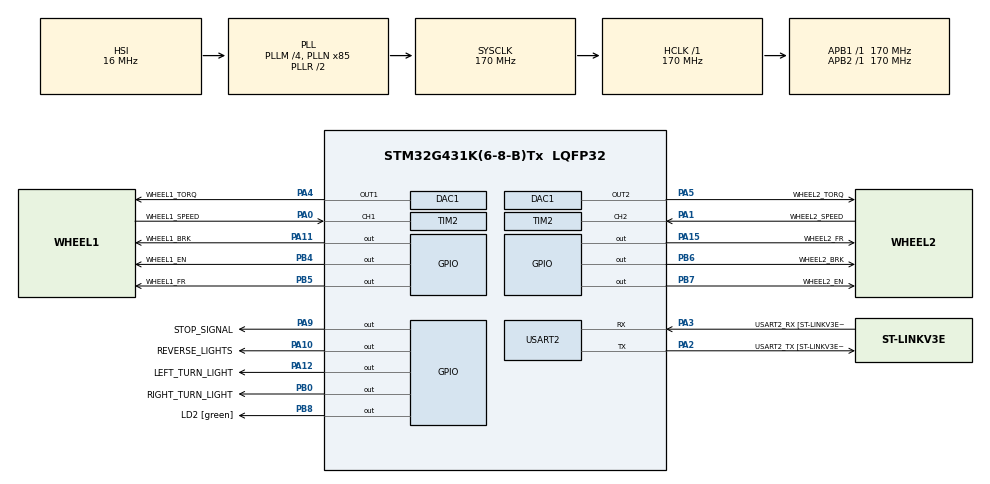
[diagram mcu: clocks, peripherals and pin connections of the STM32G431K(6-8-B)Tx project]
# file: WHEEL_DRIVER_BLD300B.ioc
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DAC1.DAC_Channel-DAC_OUT2=DAC_CHANNEL_2
DAC1.DAC_Trigger_OUT1-DAC_OUT1=DAC_TRIGGER_SOFTWARE
DAC1.DAC_Trigger_OUT2-DAC_OUT2=DAC_TRIGGER_SOFTWARE
Dma.Request0=USART2_TX
Dma.Request1=TIM2_CH1
Dma.Request2=TIM2_CH2
Dma.TIM2_CH1.1.Direction=DMA_PERIPH_TO_MEMORY
Dma.TIM2_CH1.1.EventEnable=DISABLE
Dma.TIM2_CH1.1.Instance=DMA1_Channel2
Dma.TIM2_CH1.1.MemDataAlignment=DMA_MDATAALIGN_WORD
Dma.TIM2_CH1.1.MemInc=DMA_MINC_ENABLE
Dma.TIM2_CH1.1.Mode=DMA_CIRCULAR
Dma.TIM2_CH1.1.PeriphDataAlignment=DMA_PDATAALIGN_WORD
Dma.TIM2_CH1.1.PeriphInc=DMA_PINC_DISABLE
Dma.TIM2_CH1.1.Polarity=HAL_DMAMUX_REQ_GEN_RISING
Dma.TIM2_CH1.1.Priority=DMA_PRIORITY_HIGH
Dma.TIM2_CH1.1.RequestNumber=1
Dma.TIM2_CH1.1.SignalID=NONE
Dma.TIM2_CH1.1.SyncEnable=DISABLE
Dma.TIM2_CH1.1.SyncPolarity=HAL_DMAMUX_SYNC_NO_EVENT
Dma.TIM2_CH1.1.SyncRequestNumber=1
Dma.TIM2_CH1.1.SyncSignalID=NONE
Dma.TIM2_CH2.2.Direction=DMA_PERIPH_TO_MEMORY
Dma.TIM2_CH2.2.EventEnable=DISABLE
Dma.TIM2_CH2.2.Instance=DMA1_Channel3
Dma.TIM2_CH2.2.MemDataAlignment=DMA_MDATAALIGN_WORD
Dma.TIM2_CH2.2.MemInc=DMA_MINC_ENABLE
Dma.TIM2_CH2.2.Mode=DMA_CIRCULAR
Dma.TIM2_CH2.2.PeriphDataAlignment=DMA_PDATAALIGN_WORD
Dma.TIM2_CH2.2.PeriphInc=DMA_PINC_DISABLE
Dma.TIM2_CH2.2.Polarity=HAL_DMAMUX_REQ_GEN_RISING
Dma.TIM2_CH2.2.Priority=DMA_PRIORITY_HIGH
Dma.TIM2_CH2.2.RequestNumber=1
Dma.TIM2_CH2.2.SignalID=NONE
Dma.TIM2_CH2.2.SyncEnable=DISABLE
Dma.TIM2_CH2.2.SyncPolarity=HAL_DMAMUX_SYNC_NO_EVENT
Dma.TIM2_CH2.2.SyncRequestNumber=1
Dma.TIM2_CH2.2.SyncSignalID=NONE
Dma.USART2_TX.0.Direction=DMA_MEMORY_TO_PERIPH
Dma.USART2_TX.0.EventEnable=DISABLE
Dma.USART2_TX.0.Instance=DMA1_Channel1
Dma.USART2_TX.0.MemDataAlignment=DMA_MDATAALIGN_BYTE
Dma.USART2_TX.0.MemInc=DMA_MINC_ENABLE
Dma.USART2_TX.0.Mode=DMA_NORMAL
Dma.USART2_TX.0.PeriphDataAlignment=DMA_PDATAALIGN_BYTE
Dma.USART2_TX.0.PeriphInc=DMA_PINC_DISABLE
Dma.USART2_TX.0.Polarity=HAL_DMAMUX_REQ_GEN_RISING
Dma.USART2_TX.0.Priority=DMA_PRIORITY_LOW
Dma.USART2_TX.0.RequestNumber=1
Dma.USART2_TX.0.SignalID=NONE
Dma.USART2_TX.0.SyncEnable=DISABLE
Dma.USART2_TX.0.SyncPolarity=HAL_DMAMUX_SYNC_NO_EVENT
Dma.USART2_TX.0.SyncRequestNumber=1
Dma.USART2_TX.0.SyncSignalID=NONE
Mcu.Family=STM32G4
Mcu.Name=STM32G431K(6-8-B)Tx
Mcu.Package=LQFP32
NVIC.DMA1_Channel1_IRQn=true\:5\:0\:true\:false\:true\:false\:true\:true
NVIC.DMA1_Channel2_IRQn=true\:0\:0\:true\:false\:true\:false\:true\:true
NVIC.DMA1_Channel3_IRQn=true\:1\:0\:true\:false\:true\:false\:true\:true
NVIC.PriorityGroup=NVIC_PRIORITYGROUP_4
NVIC.TIM7_IRQn=true\:3\:0\:true\:false\:true\:true\:true\:true
NVIC.USART2_IRQn=true\:6\:0\:true\:false\:true\:true\:true\:true
PA0.GPIO_Label=WHEEL1_SPEED
PA0.GPIO_PuPd=GPIO_PULLUP
PA0.Signal=S_TIM2_CH1
PA1.GPIO_Label=WHEEL2_SPEED
PA1.GPIO_PuPd=GPIO_PULLUP
PA1.Signal=S_TIM2_CH2
PA10.GPIO_Label=REVERSE_LIGHTS
PA10.Signal=GPIO_Output
PA11.GPIO_Label=WHEEL1_BRK
PA11.Signal=GPIO_Output
PA12.GPIO_Label=LEFT_TURN_LIGHT
PA12.Signal=GPIO_Output
PA13.GPIO_Label=T_SWDIO
PA13.Mode=Serial_Wire
PA13.Signal=SYS_JTMS-SWDIO
PA14.GPIO_Label=T_SWCLK
PA14.Mode=Serial_Wire
PA14.Signal=SYS_JTCK-SWCLK
PA15.GPIO_Label=WHEEL2_FR
PA15.Signal=GPIO_Output
PA2.GPIO_Label=USART2_TX [ST-LINKV3E_VCP_RX]
PA2.Mode=Asynchronous
PA2.Signal=USART2_TX
PA3.GPIO_Label=USART2_RX [ST-LINKV3E_VCP_TX]
PA3.Mode=Asynchronous
PA3.Signal=USART2_RX
PA4.GPIO_Label=WHEEL1_TORQ
PA4.Signal=COMP_DAC11_group
PA5.GPIO_Label=WHEEL2_TORQ
PA5.Signal=COMP_DAC12_group
PA9.GPIO_Label=STOP_SIGNAL
PA9.Signal=GPIO_Output
PB0.GPIO_Label=RIGHT_TURN_LIGHT
PB0.Signal=GPIO_Output
PB3.GPIO_Label=T_SWO
PB3.Signal=SYS_JTDO-SWO
PB4.GPIO_Label=WHEEL1_EN
PB4.Signal=GPIO_Output
PB5.GPIO_Label=WHEEL1_FR
PB5.Signal=GPIO_Output
PB6.GPIO_Label=WHEEL2_BRK
PB6.Signal=GPIO_Output
PB7.GPIO_Label=WHEEL2_EN
PB7.Signal=GPIO_Output
PB8-BOOT0.GPIO_Label=LD2 [green]
PB8-BOOT0.Signal=GPIO_Output
ProjectManager.HeapSize=0x200
ProjectManager.StackSize=0x400
ProjectManager.TargetToolchain=STM32CubeIDE
RCC.ADC12Freq_Value=170000000
RCC.AHBFreq_Value=170000000
RCC.APB1Freq_Value=170000000
RCC.APB1TimFreq_Value=170000000
RCC.APB2Freq_Value=170000000
RCC.APB2TimFreq_Value=170000000
RCC.CortexFreq_Value=170000000
RCC.EXTERNAL_CLOCK_VALUE=12288000
RCC.HCLKFreq_Value=170000000
RCC.HSE_VALUE=8000000
RCC.HSI48_VALUE=48000000
RCC.HSI_VALUE=16000000
RCC.LSE_VALUE=32768
RCC.PLLM=RCC_PLLM_DIV4
RCC.PLLN=85
RCC.SYSCLKFreq_VALUE=170000000
RCC.SYSCLKSource=RCC_SYSCLKSOURCE_PLLCLK
RCC.USBFreq_Value=170000000
RCC.VCOOutputFreq_Value=340000000
SH.COMP_DAC11_group.0=DAC1_OUT1,DAC_OUT1
SH.COMP_DAC12_group.0=DAC1_OUT2,DAC_OUT2
SH.S_TIM2_CH1.0=TIM2_CH1,Input_Capture1_from_TI1
SH.S_TIM2_CH2.0=TIM2_CH2,Input_Capture2_from_TI2
TIM2.Channel-Input_Capture1_from_TI1=TIM_CHANNEL_1
TIM2.Channel-Input_Capture2_from_TI2=TIM_CHANNEL_2
TIM2.ICFilter_CH1=2
TIM2.ICFilter_CH2=2
TIM7.PeriodNoDither=9999
TIM7.Prescaler=169
USART2.VirtualMode-Asynchronous=VM_ASYNC
USART2.WordLength=WORDLENGTH_8B
VP_TIM2_VS_ClockSourceINT.Mode=Internal
VP_TIM7_VS_ClockSourceINT.Mode=Enable_Timer
board=NUCLEO-G431KB

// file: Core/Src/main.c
/* USER CODE BEGIN Header */
/**
  ******************************************************************************
  * @file           : main.c
  * @brief          : Main program body
  ******************************************************************************
  * @attention
  *
  * Copyright (c) 2022 STMicroelectronics.
  * All rights reserved.
  *
  * This software is licensed under terms that can be found in the LICENSE file
  * in the root directory of this software component.
  * If no LICENSE file comes with this software, it is provided AS-IS.
  *
  ******************************************************************************
  */
/* USER CODE END Header */
#include "main.h"
#include "dac.h"
#include "dma.h"
#include "tim.h"
#include "usart.h"
#include "gpio.h"

/* USER CODE BEGIN Includes */
#include "string.h"
#include "stdio.h"
#include "math.h"
#include "uart_parser.h"
#include "odometry.h"
#include "control_wheel.h"
/* USER CODE END Includes */

/* USER CODE BEGIN PD */
#define Tx_BUFFER_LEN  256
#define NumCommands	6

/* USER CODE END PD */

/* USER CODE BEGIN PV */

uint8_t tx_buffer_ready = 1;
uint8_t tx_buffer[Tx_BUFFER_LEN] = {0,};

__IO uint8_t timer100Hz_elapsed = 0;
/* USER CODE END PV */

void SystemClock_Config(void);

/* USER CODE BEGIN 0 */
void HAL_UART_TxCpltCallback(UART_HandleTypeDef *huart) {
    if (huart == &huart2) {
        tx_buffer_ready = 1;
    }
}

void try_send_data(uint8_t *buffer, uint16_t len) {
    if (tx_buffer_ready == 1) {
        tx_buffer_ready = 0;
        HAL_UART_Transmit_DMA(&huart2, buffer, len);
    }
}

void HAL_TIM_PeriodElapsedCallback(TIM_HandleTypeDef *htim) {
    if (htim == &htim7) {
        timer100Hz_elapsed = 1;
    }
}

void HAL_UART_RxCpltCallback(UART_HandleTypeDef *huart) {
    if (huart == &huart2) {
        process_rx_byte(rx_buffer);
        HAL_UART_Receive_IT(&huart2, &rx_buffer, 1);
    }
}
/* USER CODE END 0 */

int main(void)
{

  /* MCU Configuration--------------------------------------------------------*/

  /* Reset of all peripherals, Initializes the Flash interface and the Systick. */
  HAL_Init();

  /* Configure the system clock */
  SystemClock_Config();

  /* Initialize all configured peripherals */
  MX_GPIO_Init();
  MX_DMA_Init();
  MX_DAC1_Init();
  MX_TIM2_Init();
  MX_USART2_UART_Init();
  MX_TIM7_Init();
  /* USER CODE BEGIN 2 */
    HAL_TIM_IC_Start_DMA(&htim2, TIM_CHANNEL_1, (uint32_t *)dma_buffer_timer_channel_1, DMA_TIMER_CHANNEL_LEN);
    HAL_TIM_IC_Start_DMA(&htim2, TIM_CHANNEL_2, (uint32_t *)dma_buffer_timer_channel_2, DMA_TIMER_CHANNEL_LEN);

    HAL_TIM_Base_Start_IT(&htim7);
    HAL_UART_Receive_IT(&huart2, &rx_buffer, 1);
    enable_wheels();

  /* USER CODE END 2 */

  /* Infinite loop */
  while (1)
  {

    /* USER CODE BEGIN 3 */
      if ((dma_timer_channel_1_ready == 1) || (dma_timer_channel_2_ready == 1)) {
          // update wheel_1_odometry and wheel_2_odometry
          calc_wheel_speed();
      }
      validate_odometry();

      if (is_rx_timeout() == 1) {
          stop();
      }

      if (timer100Hz_elapsed == 1) {
          control_iterate(0, wheel_1_odometry);
          control_iterate(1, wheel_2_odometry);
          // force wheels moving
          force_wheels();
          timer100Hz_elapsed = 0;
      }
      if (rx_buffer_ready == 1) {
          rx_buffer_ready = 0;
          if (rx_command.is_request == 1) {
              sprintf((char *)tx_buffer, "%0.7f; %0.7f\r\n",
                      wheel_1_odometry.speed,
                      wheel_2_odometry.speed);
              try_send_data(tx_buffer, strlen((char *) tx_buffer));
          } else if (rx_command.emergency_stop ==1) {
              emergency_stop();
          } else {
              enable_wheels();
              set_target_speed(0, rx_command.speed1);
              set_target_speed(1, rx_command.speed2);
          }
      }
  }
  /* USER CODE END 3 */
}

void SystemClock_Config(void)
{
  RCC_OscInitTypeDef RCC_OscInitStruct = {0};
  RCC_ClkInitTypeDef RCC_ClkInitStruct = {0};

  /** Configure the main internal regulator output voltage
  */
  HAL_PWREx_ControlVoltageScaling(PWR_REGULATOR_VOLTAGE_SCALE1_BOOST);

  /** Initializes the RCC Oscillators according to the specified parameters
  * in the RCC_OscInitTypeDef structure.
  */
  RCC_OscInitStruct.OscillatorType = RCC_OSCILLATORTYPE_HSI;
  RCC_OscInitStruct.HSIState = RCC_HSI_ON;
  RCC_OscInitStruct.HSICalibrationValue = RCC_HSICALIBRATION_DEFAULT;
  RCC_OscInitStruct.PLL.PLLState = RCC_PLL_ON;
  RCC_OscInitStruct.PLL.PLLSource = RCC_PLLSOURCE_HSI;
  RCC_OscInitStruct.PLL.PLLM = RCC_PLLM_DIV4;
  RCC_OscInitStruct.PLL.PLLN = 85;
  RCC_OscInitStruct.PLL.PLLP = RCC_PLLP_DIV2;
  RCC_OscInitStruct.PLL.PLLQ = RCC_PLLQ_DIV2;
  RCC_OscInitStruct.PLL.PLLR = RCC_PLLR_DIV2;
  if (HAL_RCC_OscConfig(&RCC_OscInitStruct) != HAL_OK)
  {
    Error_Handler();
  }

  /** Initializes the CPU, AHB and APB buses clocks
  */
  RCC_ClkInitStruct.ClockType = RCC_CLOCKTYPE_HCLK|RCC_CLOCKTYPE_SYSCLK
                              |RCC_CLOCKTYPE_PCLK1|RCC_CLOCKTYPE_PCLK2;
  RCC_ClkInitStruct.SYSCLKSource = RCC_SYSCLKSOURCE_PLLCLK;
  RCC_ClkInitStruct.AHBCLKDivider = RCC_SYSCLK_DIV1;
  RCC_ClkInitStruct.APB1CLKDivider = RCC_HCLK_DIV1;
  RCC_ClkInitStruct.APB2CLKDivider = RCC_HCLK_DIV1;

  if (HAL_RCC_ClockConfig(&RCC_ClkInitStruct, FLASH_LATENCY_4) != HAL_OK)
  {
    Error_Handler();
  }
}

void Error_Handler(void)
{
  __disable_irq();
  while (1)
  {
  }
}
